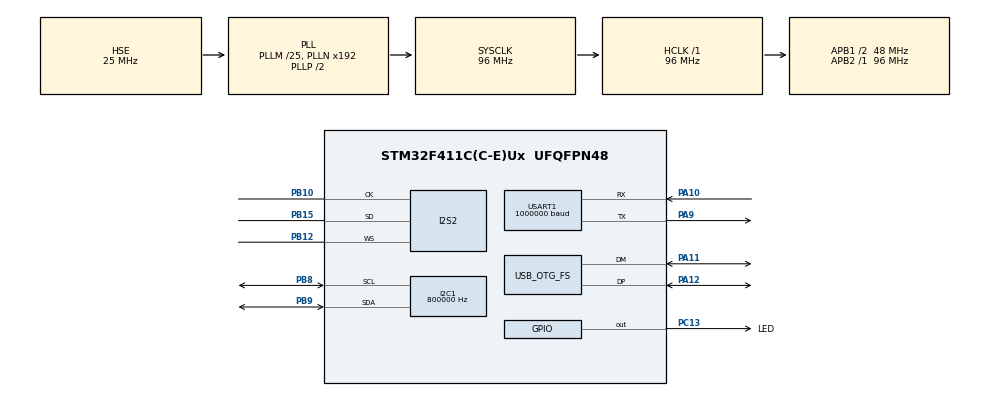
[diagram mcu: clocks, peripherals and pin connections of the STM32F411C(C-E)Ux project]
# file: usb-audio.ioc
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Dma.I2C1_TX.1.Direction=DMA_MEMORY_TO_PERIPH
Dma.I2C1_TX.1.FIFOMode=DMA_FIFOMODE_DISABLE
Dma.I2C1_TX.1.Instance=DMA1_Stream1
Dma.I2C1_TX.1.MemDataAlignment=DMA_MDATAALIGN_BYTE
Dma.I2C1_TX.1.MemInc=DMA_MINC_ENABLE
Dma.I2C1_TX.1.Mode=DMA_NORMAL
Dma.I2C1_TX.1.PeriphDataAlignment=DMA_PDATAALIGN_BYTE
Dma.I2C1_TX.1.PeriphInc=DMA_PINC_DISABLE
Dma.I2C1_TX.1.Priority=DMA_PRIORITY_LOW
Dma.Request0=SPI2_TX
Dma.Request1=I2C1_TX
Dma.Request2=USART1_TX
Dma.SPI2_TX.0.Direction=DMA_MEMORY_TO_PERIPH
Dma.SPI2_TX.0.FIFOMode=DMA_FIFOMODE_DISABLE
Dma.SPI2_TX.0.Instance=DMA1_Stream4
Dma.SPI2_TX.0.MemDataAlignment=DMA_MDATAALIGN_HALFWORD
Dma.SPI2_TX.0.MemInc=DMA_MINC_ENABLE
Dma.SPI2_TX.0.Mode=DMA_CIRCULAR
Dma.SPI2_TX.0.PeriphDataAlignment=DMA_PDATAALIGN_HALFWORD
Dma.SPI2_TX.0.PeriphInc=DMA_PINC_DISABLE
Dma.SPI2_TX.0.Priority=DMA_PRIORITY_LOW
Dma.USART1_TX.2.Direction=DMA_MEMORY_TO_PERIPH
Dma.USART1_TX.2.FIFOMode=DMA_FIFOMODE_DISABLE
Dma.USART1_TX.2.Instance=DMA2_Stream7
Dma.USART1_TX.2.MemDataAlignment=DMA_MDATAALIGN_BYTE
Dma.USART1_TX.2.MemInc=DMA_MINC_ENABLE
Dma.USART1_TX.2.Mode=DMA_NORMAL
Dma.USART1_TX.2.PeriphDataAlignment=DMA_PDATAALIGN_BYTE
Dma.USART1_TX.2.PeriphInc=DMA_PINC_DISABLE
Dma.USART1_TX.2.Priority=DMA_PRIORITY_LOW
I2C1.ClockSpeed=800000
I2C1.DutyCycle=I2C_DUTYCYCLE_16_9
I2C1.I2C_Mode=I2C_Fast
I2C1.NoStretchMode=I2C_NOSTRETCH_DISABLE
I2S2.AudioFreq=I2S_AUDIOFREQ_48K
I2S2.DataFormat=I2S_DATAFORMAT_32B
I2S2.ErrorAudioFreq=0.0 %
I2S2.FullDuplexMode=I2S_FULLDUPLEXMODE_DISABLE
I2S2.Instance=SPI$Index
I2S2.RealAudioFreq=48.0 KHz
I2S2.VirtualMode=I2S_MODE_MASTER
Mcu.Family=STM32F4
Mcu.Name=STM32F411C(C-E)Ux
Mcu.Package=UFQFPN48
Mcu.UserConstants=USBD_MAX_POWER,250
NVIC.DMA1_Stream1_IRQn=true\:1\:0\:true\:false\:true\:false\:true\:true
NVIC.DMA1_Stream4_IRQn=true\:1\:0\:true\:false\:true\:false\:true\:true
NVIC.DMA2_Stream7_IRQn=true\:1\:0\:true\:false\:true\:false\:true\:true
NVIC.I2C1_ER_IRQn=true\:2\:1\:true\:false\:true\:true\:true\:true
NVIC.I2C1_EV_IRQn=true\:2\:1\:true\:false\:true\:true\:true\:true
NVIC.OTG_FS_IRQn=true\:1\:1\:true\:false\:true\:true\:true\:true
NVIC.PriorityGroup=NVIC_PRIORITYGROUP_2
NVIC.SPI2_IRQn=true\:2\:1\:true\:false\:true\:true\:true\:true
NVIC.TIM3_IRQn=true\:3\:1\:true\:false\:true\:true\:true\:true
NVIC.USART1_IRQn=true\:2\:1\:true\:false\:true\:true\:true\:true
PA10.GPIO_Speed=GPIO_SPEED_FREQ_HIGH
PA10.Mode=Asynchronous
PA10.Signal=USART1_RX
PA11.GPIO_Speed=GPIO_SPEED_FREQ_VERY_HIGH
PA11.Mode=Device_Only
PA11.Signal=USB_OTG_FS_DM
PA12.GPIO_Speed=GPIO_SPEED_FREQ_VERY_HIGH
PA12.Mode=Device_Only
PA12.Signal=USB_OTG_FS_DP
PA13.Mode=Serial_Wire
PA13.Signal=SYS_JTMS-SWDIO
PA14.Mode=Serial_Wire
PA14.Signal=SYS_JTCK-SWCLK
PA9.GPIO_Speed=GPIO_SPEED_FREQ_HIGH
PA9.Mode=Asynchronous
PA9.Signal=USART1_TX
PB10.GPIO_Speed=GPIO_SPEED_FREQ_HIGH
PB10.Mode=Half_Duplex_Master
PB10.Signal=I2S2_CK
PB12.GPIO_Speed=GPIO_SPEED_FREQ_HIGH
PB12.Mode=Half_Duplex_Master
PB12.Signal=I2S2_WS
PB15.GPIO_Speed=GPIO_SPEED_FREQ_HIGH
PB15.Mode=Half_Duplex_Master
PB15.Signal=I2S2_SD
PB8.GPIO_Pu=GPIO_PULLUP
PB8.GPIO_Speed=GPIO_SPEED_FREQ_HIGH
PB8.Mode=I2C
PB8.Signal=I2C1_SCL
PB9.GPIO_Pu=GPIO_PULLUP
PB9.GPIO_Speed=GPIO_SPEED_FREQ_HIGH
PB9.Mode=I2C
PB9.Signal=I2C1_SDA
PC13-ANTI_TAMP.GPIO_Label=LED
PC13-ANTI_TAMP.GPIO_ModeDefaultOutputPP=GPIO_MODE_OUTPUT_OD
PC13-ANTI_TAMP.GPIO_PuPd=GPIO_NOPULL
PC13-ANTI_TAMP.PinState=GPIO_PIN_SET
PC13-ANTI_TAMP.Signal=GPIO_Output
PH0\ -\ OSC_IN.Mode=HSE-External-Oscillator
PH0\ -\ OSC_IN.Signal=RCC_OSC_IN
PH1\ -\ OSC_OUT.Mode=HSE-External-Oscillator
PH1\ -\ OSC_OUT.Signal=RCC_OSC_OUT
ProjectManager.HeapSize=0x200
ProjectManager.StackSize=0x400
ProjectManager.TargetToolchain=CMake
RCC.48MHZClocksFreq_Value=48000000
RCC.AHBFreq_Value=96000000
RCC.APB1CLKDivider=RCC_HCLK_DIV2
RCC.APB1Freq_Value=48000000
RCC.APB1TimFreq_Value=96000000
RCC.APB2Freq_Value=96000000
RCC.APB2TimFreq_Value=96000000
RCC.CortexFreq_Value=96000000
RCC.HCLKFreq_Value=96000000
RCC.HSE_VALUE=25000000
RCC.HSI_VALUE=16000000
RCC.LSE_VALUE=32768
RCC.PLLI2SM=25
RCC.PLLI2SN=384
RCC.PLLI2SR=5
RCC.PLLM=25
RCC.SYSCLKFreq_VALUE=96000000
RCC.SYSCLKSource=RCC_SYSCLKSOURCE_PLLCLK
RCC.VCOOutputFreq_Value=192000000
TIM3.AutoReloadPreload=TIM_AUTORELOAD_PRELOAD_DISABLE
TIM3.Period=1000-1
TIM3.Prescaler=1600-1
TIM3.TIM_MasterOutputTrigger=TIM_TRGO_RESET
USART1.BaudRate=1000000
USART1.Mode=MODE_TX
USART1.VirtualMode=VM_ASYNC
USB_DEVICE.CLASS_NAME_FS=AUDIO
USB_DEVICE.PID_AUDIO_FS=0x5730
USB_DEVICE.USBD_AUDIO_FREQ=48000
USB_DEVICE.USBD_MAX_STR_DESC_SIZ=64
USB_DEVICE.USBD_SELF_POWERED=0
USB_DEVICE.VID=0x483
USB_DEVICE.VirtualMode=Audio
USB_DEVICE.VirtualModeFS=Audio_FS
USB_OTG_FS.VirtualMode=Device_Only
VP_TIM3_VS_ClockSourceINT.Mode=Internal
VP_USB_DEVICE_VS_USB_DEVICE_AUDIO_FS.Mode=AUDIO_FS
board=custom

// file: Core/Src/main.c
/* USER CODE BEGIN Header */
/**
  ******************************************************************************
  * @file           : main.c
  * @brief          : Main program body
  ******************************************************************************
  * @attention
  *
  * Copyright (c) 2026 STMicroelectronics.
  * All rights reserved.
  *
  * This software is licensed under terms that can be found in the LICENSE file
  * in the root directory of this software component.
  * If no LICENSE file comes with this software, it is provided AS-IS.
  *
  ******************************************************************************
  */
/* USER CODE END Header */
#include "main.h"

/* USER CODE BEGIN Includes */

#include "dsp/support_functions.h"
#include "dsp/utils.h"
#include "stm32f411xe.h"
#include "stm32f4xx_hal.h"
// #include "fonts.h"
#include "microGL.h"
// #include "sh1106.h"
#include "ssd1306.h"
// #include "gu128x32d.h"
#include "stm32f4xx_hal_tim.h"
#include "visuals/VUmeter.h"
#include "visuals/waveform.h"
#include "visuals/bouncing_bars.h"
#include "ringbuf.h"
#include "usb_audio_class.h"
#include "audio_player.h"
#include "usbd_core.h"
#include "usbd_desc.h"
#include <stddef.h>
#include <stdint.h>
#include <stdlib.h>

/* USER CODE END Includes */

I2C_HandleTypeDef hi2c1;
DMA_HandleTypeDef hdma_i2c1_tx;

I2S_HandleTypeDef hi2s2;
DMA_HandleTypeDef hdma_spi2_tx;

TIM_HandleTypeDef htim3;

UART_HandleTypeDef huart1;
DMA_HandleTypeDef hdma_usart1_tx;

/* USER CODE BEGIN PV */
USBD_HandleTypeDef hUsbDevice;
static uint8_t framebuffer[SSD1306_FB_SIZE * 2];
static ssd1306_display_t display = {
  .hi2c = &hi2c1,
  .i2c_addr = SSD1306_I2C_ADDRESS_0,
  .fb1 = framebuffer,
  .fb2 = framebuffer + SSD1306_FB_SIZE,
};
static microGL_canvas screen;
static AudioPlayer_HandleTypeDef speaker;
static VUmeter_HandleTypeDef VUmeter[2];
static waveform_HandleTypeDef wave;
static bouncing_bars_HandleTypeDef bars;
static ringbuf_Handle audio_stream;
/* USER CODE END PV */

void SystemClock_Config(void);
static void MX_GPIO_Init(void);
static void MX_DMA_Init(void);
static void MX_USART1_UART_Init(void);
static void MX_I2C1_Init(void);
static void MX_I2S2_Init(void);
static void MX_TIM3_Init(void);
/* USER CODE BEGIN PFP */
static void USB_DEVICE_Init(void);
/* USER CODE END PFP */

int main(void)
{

  /* MCU Configuration--------------------------------------------------------*/

  /* Reset of all peripherals, Initializes the Flash interface and the Systick. */
  HAL_Init();

  /* Configure the system clock */
  SystemClock_Config();

  /* Initialize all configured peripherals */
  MX_GPIO_Init();
  MX_DMA_Init();
  MX_I2C1_Init();
  MX_I2S2_Init();
  MX_TIM3_Init();
  /* USER CODE BEGIN 2 */

  #ifdef DEBUG_PRINT
  MX_USART1_UART_Init();
  HAL_Delay(1);
  printf("\r\nRESET\r\n");
  fflush(stdout);
  HAL_Delay(10);
  #endif

  ssd1306_init(&display);
  microGL_init_canvas(&screen, SSD1306_SCR_W, SSD1306_SCR_H,
    MICROGL_SCANMODE_RIGHTDOWN, MICROGL_LSB_FIRST, &display.fbptr);
  microGL_set_draw_mode(&screen, MICROGL_DRAWMODE_INV);
  meter_init(&VUmeter[0], 3*PI/4, PI/4, 15+64, 0, 23);
  meter_init(&VUmeter[1], 3*PI/4, PI/4, 48+64, 0, 23);
  waveform_init(&wave, WAVEFORM_HORIZONTAL, 16, 128, 0, 47, 8);
  bouncing_bars_init(&bars, 7, 2, 6, 32, 0, 0);
  ringbuf_init(&audio_stream, 1280);
  audio_player_init(&speaker, &hi2s2, 15, APLAYER_I2S_32BIT);
  USB_DEVICE_Init();
  /* USER CODE END 2 */

  /* Infinite loop */
  /* USER CODE BEGIN WHILE */
  while (1)
  {
    static bool display_on = false;
    if (display_on) {
      if (audio_player_is_playing(speaker)) {

        while(1) {
          size_t size;
          ringbuf_status_t rbstat;
          rbstat = ringbuf_avaliable(audio_stream,&size);
          if (rbstat != RINGBUF_OK) Error_Handler();
          size = MIN(size, 384U);
          size /= 8;  /** Ensuring that size is an even multiple of float32-s size */
          if (!size) break;
          float audio_data_f32[96];
          ringbuf_dequeue(audio_stream, audio_data_f32, size * 8);

          float Lch[48], Rch[48];
          float Mono[48];

          for (size_t i = 0; i < size; i++) {
            Lch[i] = audio_data_f32[i*2];
            Rch[i] = audio_data_f32[i*2+1];
            Mono[i] = Lch[i] / 2 + Rch[i] / 2;
          }

          meter_update_VU(VUmeter[0], Lch, size);
          meter_update_VU(VUmeter[1], Rch, size);
          waveform_update(wave, Mono, size);
          bouncing_bars_update(bars, Mono, size);
        }

        HAL_PWR_EnterSLEEPMode(PWR_MAINREGULATOR_ON,  PWR_SLEEPENTRY_WFE_NO_EVT_CLEAR);
      }
      else {
        HAL_TIM_Base_Stop_IT(&htim3);
        ssd1306_off(&display);
        display_on = false;
      }
    }
    else {
      if (audio_player_is_playing(speaker)) {
        // htim3.Instance->CNT = 0;
        HAL_TIM_Base_Start_IT(&htim3);
        ssd1306_on(&display);
        display_on = true;
      }
      else {
        HAL_PWR_EnterSLEEPMode(PWR_MAINREGULATOR_ON,  PWR_SLEEPENTRY_WFE_NO_EVT_CLEAR);
      }
    }
    /* USER CODE END WHILE */

  }
}

void SystemClock_Config(void)
{
  RCC_OscInitTypeDef RCC_OscInitStruct = {0};
  RCC_ClkInitTypeDef RCC_ClkInitStruct = {0};

  /** Configure the main internal regulator output voltage
  */
  __HAL_RCC_PWR_CLK_ENABLE();
  __HAL_PWR_VOLTAGESCALING_CONFIG(PWR_REGULATOR_VOLTAGE_SCALE1);

  /** Initializes the RCC Oscillators according to the specified parameters
  * in the RCC_OscInitTypeDef structure.
  */
  RCC_OscInitStruct.OscillatorType = RCC_OSCILLATORTYPE_HSE;
  RCC_OscInitStruct.HSEState = RCC_HSE_ON;
  RCC_OscInitStruct.PLL.PLLState = RCC_PLL_ON;
  RCC_OscInitStruct.PLL.PLLSource = RCC_PLLSOURCE_HSE;
  RCC_OscInitStruct.PLL.PLLM = 25;
  RCC_OscInitStruct.PLL.PLLN = 192;
  RCC_OscInitStruct.PLL.PLLP = RCC_PLLP_DIV2;
  RCC_OscInitStruct.PLL.PLLQ = 4;
  if (HAL_RCC_OscConfig(&RCC_OscInitStruct) != HAL_OK)
  {
    Error_Handler();
  }

  /** Initializes the CPU, AHB and APB buses clocks
  */
  RCC_ClkInitStruct.ClockType = RCC_CLOCKTYPE_HCLK|RCC_CLOCKTYPE_SYSCLK
                              |RCC_CLOCKTYPE_PCLK1|RCC_CLOCKTYPE_PCLK2;
  RCC_ClkInitStruct.SYSCLKSource = RCC_SYSCLKSOURCE_PLLCLK;
  RCC_ClkInitStruct.AHBCLKDivider = RCC_SYSCLK_DIV1;
  RCC_ClkInitStruct.APB1CLKDivider = RCC_HCLK_DIV2;
  RCC_ClkInitStruct.APB2CLKDivider = RCC_HCLK_DIV1;

  if (HAL_RCC_ClockConfig(&RCC_ClkInitStruct, FLASH_LATENCY_3) != HAL_OK)
  {
    Error_Handler();
  }
}

static void MX_I2C1_Init(void)
{

  hi2c1.Instance = I2C1;
  hi2c1.Init.ClockSpeed = 800000;
  hi2c1.Init.DutyCycle = I2C_DUTYCYCLE_16_9;
  hi2c1.Init.OwnAddress1 = 0;
  hi2c1.Init.AddressingMode = I2C_ADDRESSINGMODE_7BIT;
  hi2c1.Init.DualAddressMode = I2C_DUALADDRESS_DISABLE;
  hi2c1.Init.OwnAddress2 = 0;
  hi2c1.Init.GeneralCallMode = I2C_GENERALCALL_DISABLE;
  hi2c1.Init.NoStretchMode = I2C_NOSTRETCH_DISABLE;
  if (HAL_I2C_Init(&hi2c1) != HAL_OK)
  {
    Error_Handler();
  }

}

static void MX_I2S2_Init(void)
{

  hi2s2.Instance = SPI2;
  hi2s2.Init.Mode = I2S_MODE_MASTER_TX;
  hi2s2.Init.Standard = I2S_STANDARD_PHILIPS;
  hi2s2.Init.DataFormat = I2S_DATAFORMAT_32B;
  hi2s2.Init.MCLKOutput = I2S_MCLKOUTPUT_DISABLE;
  hi2s2.Init.AudioFreq = I2S_AUDIOFREQ_48K;
  hi2s2.Init.CPOL = I2S_CPOL_LOW;
  hi2s2.Init.ClockSource = I2S_CLOCK_PLL;
  hi2s2.Init.FullDuplexMode = I2S_FULLDUPLEXMODE_DISABLE;
  if (HAL_I2S_Init(&hi2s2) != HAL_OK)
  {
    Error_Handler();
  }

}

static void MX_TIM3_Init(void)
{

  TIM_ClockConfigTypeDef sClockSourceConfig = {0};
  TIM_MasterConfigTypeDef sMasterConfig = {0};

  htim3.Instance = TIM3;
  htim3.Init.Prescaler = 1600-1;
  htim3.Init.CounterMode = TIM_COUNTERMODE_UP;
  htim3.Init.Period = 1000-1;
  htim3.Init.ClockDivision = TIM_CLOCKDIVISION_DIV1;
  htim3.Init.AutoReloadPreload = TIM_AUTORELOAD_PRELOAD_DISABLE;
  if (HAL_TIM_Base_Init(&htim3) != HAL_OK)
  {
    Error_Handler();
  }
  sClockSourceConfig.ClockSource = TIM_CLOCKSOURCE_INTERNAL;
  if (HAL_TIM_ConfigClockSource(&htim3, &sClockSourceConfig) != HAL_OK)
  {
    Error_Handler();
  }
  sMasterConfig.MasterOutputTrigger = TIM_TRGO_RESET;
  sMasterConfig.MasterSlaveMode = TIM_MASTERSLAVEMODE_DISABLE;
  if (HAL_TIMEx_MasterConfigSynchronization(&htim3, &sMasterConfig) != HAL_OK)
  {
    Error_Handler();
  }

}

static void MX_USART1_UART_Init(void)
{

  huart1.Instance = USART1;
  huart1.Init.BaudRate = 1000000;
  huart1.Init.WordLength = UART_WORDLENGTH_8B;
  huart1.Init.StopBits = UART_STOPBITS_1;
  huart1.Init.Parity = UART_PARITY_NONE;
  huart1.Init.Mode = UART_MODE_TX;
  huart1.Init.HwFlowCtl = UART_HWCONTROL_NONE;
  huart1.Init.OverSampling = UART_OVERSAMPLING_16;
  if (HAL_UART_Init(&huart1) != HAL_OK)
  {
    Error_Handler();
  }

}

static void MX_DMA_Init(void)
{

  /* DMA controller clock enable */
  __HAL_RCC_DMA1_CLK_ENABLE();
  __HAL_RCC_DMA2_CLK_ENABLE();

  /* DMA interrupt init */
  /* DMA1_Stream1_IRQn interrupt configuration */
  HAL_NVIC_SetPriority(DMA1_Stream1_IRQn, 1, 0);
  HAL_NVIC_EnableIRQ(DMA1_Stream1_IRQn);
  /* DMA1_Stream4_IRQn interrupt configuration */
  HAL_NVIC_SetPriority(DMA1_Stream4_IRQn, 1, 0);
  HAL_NVIC_EnableIRQ(DMA1_Stream4_IRQn);
  /* DMA2_Stream7_IRQn interrupt configuration */
  HAL_NVIC_SetPriority(DMA2_Stream7_IRQn, 1, 0);
  HAL_NVIC_EnableIRQ(DMA2_Stream7_IRQn);

}

static void MX_GPIO_Init(void)
{
  GPIO_InitTypeDef GPIO_InitStruct = {0};

  /* GPIO Ports Clock Enable */
  __HAL_RCC_GPIOC_CLK_ENABLE();
  __HAL_RCC_GPIOH_CLK_ENABLE();
  __HAL_RCC_GPIOB_CLK_ENABLE();
  __HAL_RCC_GPIOA_CLK_ENABLE();

  /*Configure GPIO pin Output Level */
  HAL_GPIO_WritePin(LED_GPIO_Port, LED_Pin, GPIO_PIN_SET);

  /*Configure GPIO pin : LED_Pin */
  GPIO_InitStruct.Pin = LED_Pin;
  GPIO_InitStruct.Mode = GPIO_MODE_OUTPUT_OD;
  GPIO_InitStruct.Pull = GPIO_NOPULL;
  GPIO_InitStruct.Speed = GPIO_SPEED_FREQ_LOW;
  HAL_GPIO_Init(LED_GPIO_Port, &GPIO_InitStruct);

}

/* USER CODE BEGIN 4 */

void stream_start(uint32_t sample_rate) {
  meter_start(VUmeter[0], sample_rate);
  meter_start(VUmeter[1], sample_rate);
  waveform_start(wave, sample_rate);
  bouncing_bars_start(bars, sample_rate);
  audio_player_start(speaker, sample_rate);
}

void stream_end() {
  audio_player_stop(speaker);
}

void data_received(int16_t* audio_data_q15, uint16_t size) {
  float audio_data_f32[size];
  arm_q15_to_float(audio_data_q15, audio_data_f32, size);
  audio_player_enqueue(speaker, audio_data_f32, size);
  ringbuf_enqueue(audio_stream, audio_data_f32, size * sizeof(float));
}

void volume_change(int16_t volume) {
  float volume_dB = volume / 256.0f;
  audio_player_set_volume(speaker, volume_dB);
}

USB_Audio_IntfTypeDef USB_Audio_Interface = {
  .stream_start = stream_start,
  .stream_end = stream_end,
  .audio_data_received = data_received,
  .set_volume = volume_change,
  .set_mute = NULL
};

void USB_DEVICE_Init(void)
{
  if (USBD_Init(&hUsbDevice, &FS_Desc, DEVICE_FS) != USBD_OK)
    Error_Handler();

  if (USBD_RegisterClass(&hUsbDevice, &USB_Audio_Class) != USBD_OK)
    Error_Handler();

  USB_Audio_RegisterInterface(&hUsbDevice, &USB_Audio_Interface);

  if (USBD_Start(&hUsbDevice) != USBD_OK)
    Error_Handler();
}

void HAL_I2S_TxCpltCallback(I2S_HandleTypeDef *hi2s) {
  if (hi2s == &hi2s2) {
    audio_player_sync(speaker);
  }
}

void HAL_TIM_PeriodElapsedCallback(TIM_HandleTypeDef *htim) {
  if (htim == &htim3) {
    do {
      microGL_clear(&screen, NULL);
      meter_draw_needle(VUmeter[0], &screen);
      meter_draw_needle(VUmeter[1], &screen);
      waveform_draw(wave, &screen);
      bouncing_bars_draw(bars, &screen);
    }while (!ssd1306_poll_flush_complete());
    ssd1306_flush(&display);
  }
}

#ifdef DEBUG_PRINT
int _write(int file, char *ptr, int len)
{
  (void)file;
  HAL_UART_Transmit_DMA(&huart1, (uint8_t*)ptr, len);
  return len;
}
#endif /*DEBUG*/
/* USER CODE END 4 */

void Error_Handler(void)
{
  __disable_irq();
  while (1)
  {
  }
}
